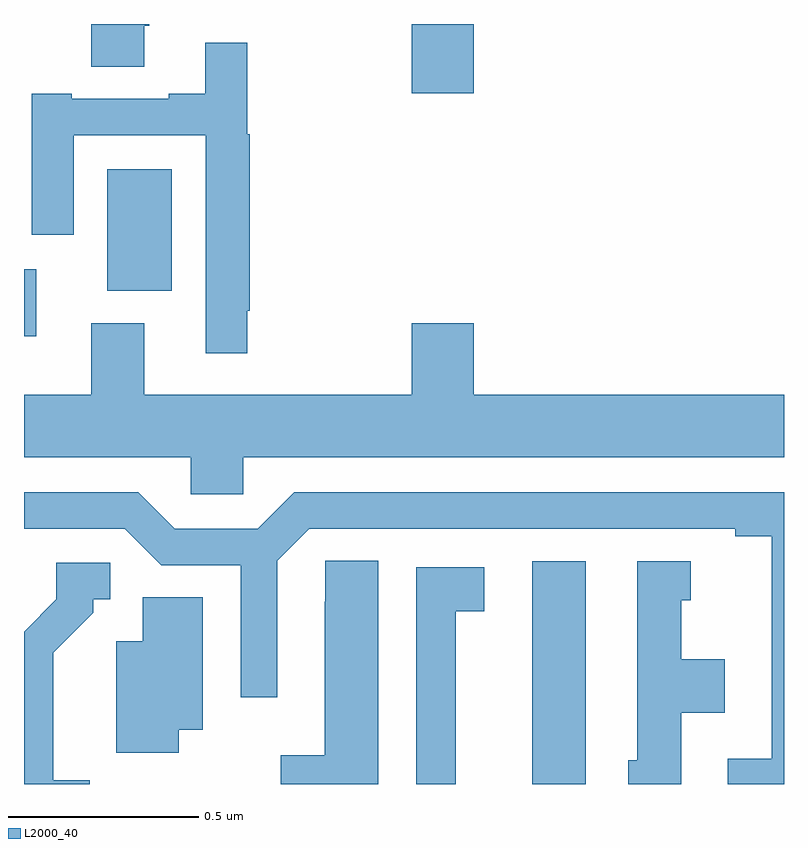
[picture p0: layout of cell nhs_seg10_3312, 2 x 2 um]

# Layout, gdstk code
import gdstk
lib = gdstk.Library(unit=1e-6, precision=1e-09)
def R(c, l, rs):  # rectangles x0, y0, x1, y1
    for r in rs: c.add(gdstk.rectangle(r[:2], r[2:], *l))
def P(c, l, *ps):  # polygons
    for p in ps: c.add(gdstk.Polygon(p, *l))
L2000_40 = (2000, 40)

nhs_seg10_3312 = lib.new_cell('nhs_seg10_3312')
R(nhs_seg10_3312, L2000_40, [(153.338,1255.5,153.478,1256.086), (152,1256.678,152.032,1256.854), (152.219,1256.798,152.389,1257.118), (153.02,1257.318,153.184,1257.5)])
P(nhs_seg10_3312, L2000_40, [(152.317,1257.496),(152.33,1257.496),(152.33,1257.5),(152.177,1257.5),(152.177,1257.388),(152.317,1257.388)],
  [(152.587,1256.746),(152.594,1256.746),(152.594,1257.21),(152.587,1257.21),(152.587,1257.451),(152.477,1257.451),(152.477,1257.316),(152.381,1257.316),(152.381,1257.303),(152.125,1257.303),(152.125,1257.316),(152.021,1257.316),(152.021,1256.946),(152.131,1256.946),(152.131,1257.207),(152.478,1257.207),(152.478,1256.634),(152.587,1256.634)],
  [(152.577,1256.36),(154,1256.36),(154,1256.524),(153.184,1256.524),(153.184,1256.713),(153.02,1256.713),(153.02,1256.524),(152.317,1256.524),(152.317,1256.713),(152.177,1256.713),(152.177,1256.524),(152,1256.524),(152,1256.36),(152.439,1256.36),(152.439,1256.262),(152.577,1256.262)],
  [(154,1256.268),(152.711,1256.268),(152.615,1256.172),(152.397,1256.172),(152.301,1256.268),(152,1256.268),(152,1256.172),(152.265,1256.172),(152.361,1256.076),(152.571,1256.076),(152.571,1255.728),(152.667,1255.728),(152.667,1256.088),(152.751,1256.172),(153.872,1256.172),(153.872,1256.152),(153.968,1256.152),(153.968,1255.566),(153.852,1255.566),(153.852,1255.5),(154,1255.5)],
  [(152.932,1256.087),(152.793,1256.087),(152.793,1255.979),(152.792,1255.979),(152.792,1255.576),(152.676,1255.576),(152.676,1255.5),(152.932,1255.5)],
  [(153.73,1255.688),(153.844,1255.688),(153.844,1255.828),(153.73,1255.828),(153.73,1255.983),(153.754,1255.983),(153.754,1256.086),(153.614,1256.086),(153.614,1255.563),(153.59,1255.563),(153.59,1255.5),(153.73,1255.5)],
  [(152.173,1255.51),(152.077,1255.51),(152.077,1255.846),(152.182,1255.951),(152.182,1255.986),(152.227,1255.986),(152.227,1256.082),(152.085,1256.082),(152.085,1255.986),(152,1255.901),(152,1255.5),(152.173,1255.5)],
  [(153.136,1255.954),(153.211,1255.954),(153.211,1256.07),(153.032,1256.07),(153.032,1255.5),(153.136,1255.5)],
  [(152.407,1255.643),(152.47,1255.643),(152.47,1255.991),(152.312,1255.991),(152.312,1255.876),(152.243,1255.876),(152.243,1255.582),(152.407,1255.582)])

lib.write_gds('nhs_seg10_3312.gds')
